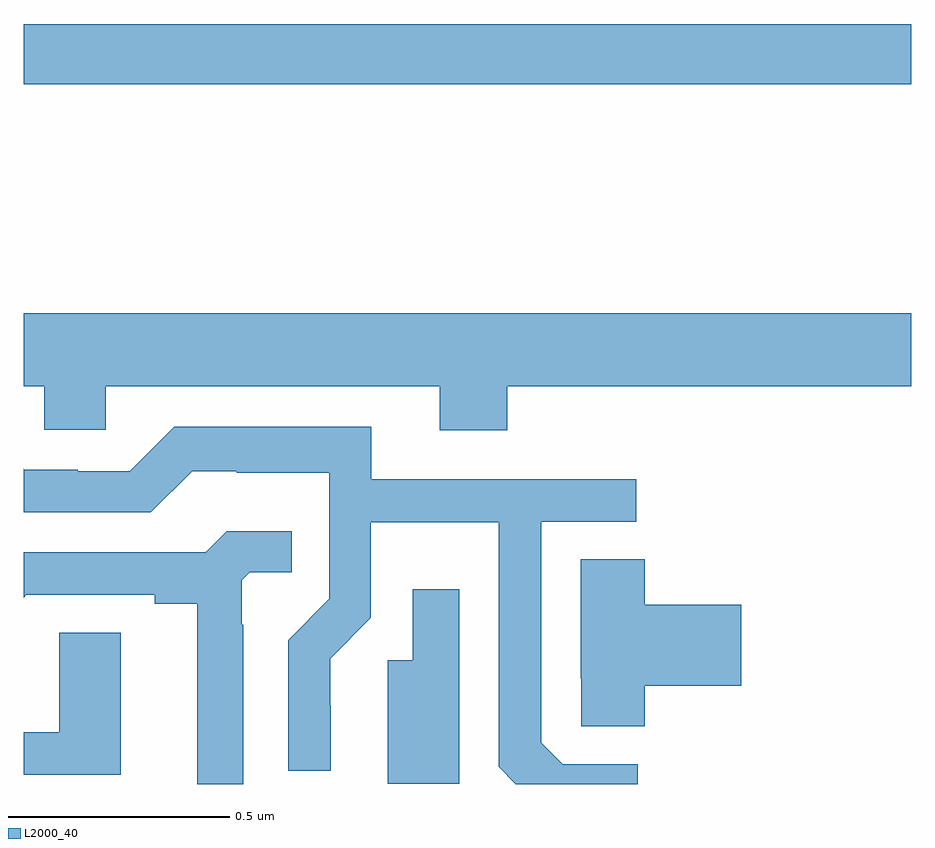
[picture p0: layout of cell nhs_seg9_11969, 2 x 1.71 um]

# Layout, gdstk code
import gdstk
lib = gdstk.Library(unit=1e-6, precision=1e-09)
def R(c, l, rs):  # rectangles x0, y0, x1, y1
    for r in rs: c.add(gdstk.rectangle(r[:2], r[2:], *l))
def P(c, l, *ps):  # polygons
    for p in ps: c.add(gdstk.Polygon(p, *l))
L2000_40 = (2000, 40)

nhs_seg9_11969 = lib.new_cell('nhs_seg9_11969')
R(nhs_seg9_11969, L2000_40, [(262,1221.076,264,1221.212)])
P(nhs_seg9_11969, L2000_40, [(263.09,1220.396),(264,1220.396),(264,1220.56),(262,1220.56),(262,1220.396),(262.047,1220.396),(262.047,1220.298),(262.185,1220.298),(262.185,1220.396),(262.937,1220.396),(262.937,1220.297),(263.09,1220.297)],
  [(263.384,1219.545),(263.214,1219.545),(263.166,1219.593),(263.166,1220.091),(263.38,1220.091),(263.38,1220.187),(262.783,1220.187),(262.783,1220.305),(262.339,1220.305),(262.239,1220.205),(262.122,1220.205),(262.122,1220.208),(262.002,1220.208),(262,1220.21),(262,1220.112),(262.287,1220.112),(262.38,1220.205),(262.48,1220.205),(262.48,1220.201),(262.689,1220.201),(262.689,1219.917),(262.596,1219.824),(262.596,1219.53),(262.692,1219.53),(262.692,1219.676),(262.691,1219.676),(262.691,1219.782),(262.782,1219.874),(262.782,1220.09),(263.07,1220.09),(263.07,1219.539),(263.109,1219.5),(263.384,1219.5)],
  [(262.495,1219.859),(262.491,1219.859),(262.491,1219.959),(262.509,1219.977),(262.604,1219.977),(262.604,1220.069),(262.458,1220.069),(262.41,1220.022),(262,1220.022),(262,1219.92),(262.006,1219.926),(262.295,1219.926),(262.295,1219.906),(262.391,1219.906),(262.391,1219.5),(262.495,1219.5)],
  [(263.399,1219.721),(263.617,1219.721),(263.617,1219.904),(263.399,1219.904),(263.399,1220.006),(263.255,1220.006),(263.255,1219.738),(263.256,1219.738),(263.256,1219.63),(263.399,1219.63)],
  [(262.981,1219.939),(262.877,1219.939),(262.877,1219.779),(262.82,1219.779),(262.82,1219.501),(262.981,1219.501)],
  [(262.219,1219.841),(262.08,1219.841),(262.08,1219.617),(262,1219.617),(262,1219.521),(262.219,1219.521)])

lib.write_gds('nhs_seg9_11969.gds')
